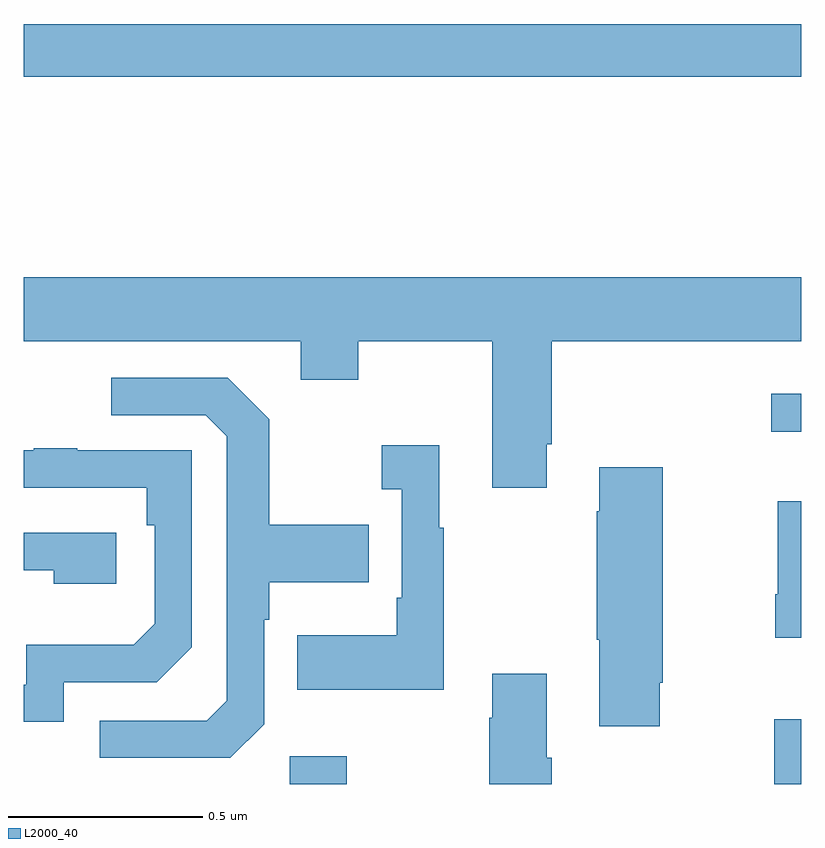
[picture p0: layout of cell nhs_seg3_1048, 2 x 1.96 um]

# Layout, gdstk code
import gdstk
lib = gdstk.Library(unit=1e-6, precision=1e-09)
def R(c, l, rs):  # rectangles x0, y0, x1, y1
    for r in rs: c.add(gdstk.rectangle(r[:2], r[2:], *l))
def P(c, l, *ps):  # polygons
    for p in ps: c.add(gdstk.Polygon(p, *l))
L2000_40 = (2000, 40)

nhs_seg3_1048 = lib.new_cell('nhs_seg3_1048')
R(nhs_seg3_1048, L2000_40, [(123.684,742.4,123.831,742.471), (124.931,742.4,125,742.567), (124.923,743.307,125,743.404), (123,744.22,125,744.356)])
P(nhs_seg3_1048, L2000_40, [(124.345,743.275),(124.358,743.275),(124.358,743.54),(125,743.54),(125,743.704),(123,743.704),(123,743.54),(123.713,743.54),(123.713,743.441),(123.861,743.441),(123.861,743.54),(124.205,743.54),(124.205,743.163),(124.345,743.163)],
  [(123.618,742.554),(123.618,742.823),(123.631,742.823),(123.631,742.919),(123.887,742.919),(123.887,743.067),(123.631,743.067),(123.631,743.339),(123.525,743.445),(123.225,743.445),(123.225,743.349),(123.468,743.349),(123.522,743.295),(123.522,742.614),(123.471,742.563),(123.195,742.563),(123.195,742.467),(123.531,742.467)],
  [(124.081,743.059),(124.069,743.059),(124.069,743.272),(123.921,743.272),(123.921,743.159),(123.972,743.159),(123.972,742.879),(123.96,742.879),(123.96,742.783),(123.703,742.783),(123.703,742.643),(124.081,742.643)],
  [(123.102,742.662),(123.342,742.662),(123.432,742.752),(123.432,743.259),(123.137,743.259),(123.137,743.264),(123.025,743.264),(123.025,743.259),(123,743.259),(123,743.163),(123.316,743.163),(123.316,743.066),(123.336,743.066),(123.336,742.812),(123.283,742.759),(123.006,742.759),(123.006,742.656),(123,742.656),(123,742.56),(123.102,742.56)],
  [(124.636,742.66),(124.644,742.66),(124.644,743.215),(124.481,743.215),(124.481,743.102),(124.474,743.102),(124.474,742.771),(124.481,742.771),(124.481,742.548),(124.636,742.548)],
  [(125,743.128),(124.94,743.128),(124.94,742.888),(124.933,742.888),(124.933,742.776),(125,742.776)],
  [(123.238,743.046),(123,743.046),(123,742.95),(123.077,742.95),(123.077,742.916),(123.238,742.916)],
  [(124.358,742.468),(124.345,742.468),(124.345,742.684),(124.205,742.684),(124.205,742.571),(124.198,742.571),(124.198,742.4),(124.358,742.4)])

lib.write_gds('nhs_seg3_1048.gds')
